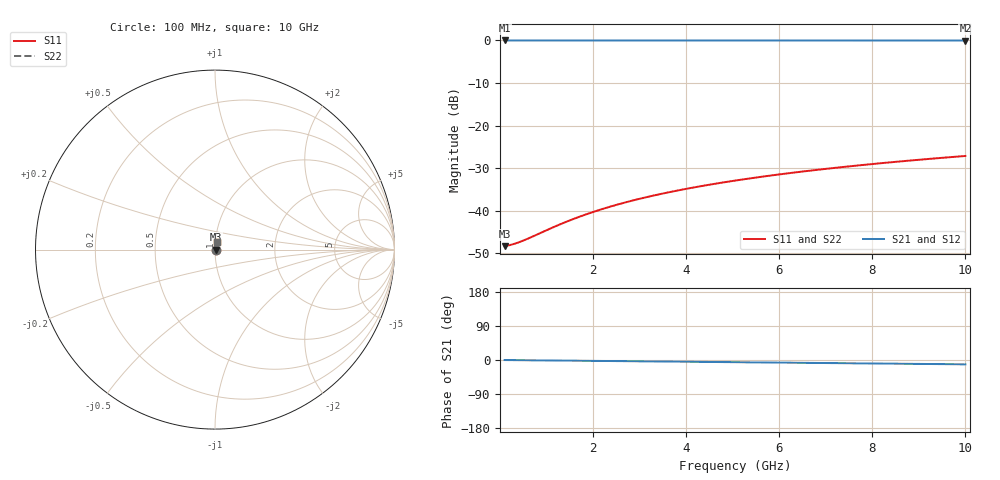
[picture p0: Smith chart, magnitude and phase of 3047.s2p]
# Hz S RI R 50.00
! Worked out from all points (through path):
!   100 points, 100 MHz to 10 GHz, reference 50 ohm
!   highest |S21| = -0.03 dB at 100 MHz (marker M1); lowest = 0.0 dB at 10 GHz (marker M2)
!   group delay of S21, straight-line fit = 3.18 ps
!   lowest |S11| = -48.3 dB at 100 MHz (marker M3), VSWR 1.01, Z = 50.4 + j0.0437 ohm
!   |S11| at or under -10 dB: start of sweep to end of sweep
!   |S22| runs from -48.3 to -27.1 dB; largest |S21 - S12| = 0
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1e8  0.00383 0.000434  0.9962 -0.00199  0.9962 -0.00199  0.00383 0.000434
2e8  0.00385 0.000868  0.9961 -0.00398  0.9961 -0.00398  0.00385 0.000868
3e8  0.00388 0.0013  0.9961 -0.00598  0.9961 -0.00598  0.00388 0.0013
4e8  0.0039 0.00173  0.9961 -0.00797  0.9961 -0.00797  0.0039 0.00173
5e8  0.00392 0.00217  0.996 -0.00996  0.996 -0.00996  0.00392 0.00217
1.3e9  0.00411 0.00563  0.9957 -0.0259  0.9957 -0.0259  0.00411 0.00563
1.5e9  0.00417 0.0065  0.9955 -0.0299  0.9955 -0.0299  0.00417 0.0065
1.8e9  0.00427 0.0078  0.9953 -0.0358  0.9953 -0.0358  0.00427 0.0078
2.1e9  0.00439 0.00909  0.995 -0.0418  0.995 -0.0418  0.00439 0.00909
2.5e9  0.00456 0.0108  0.9946 -0.0498  0.9946 -0.0498  0.00456 0.0108
2.9e9  0.00477 0.0125  0.9942 -0.0577  0.9942 -0.0577  0.00477 0.0125
3.4e9  0.00506 0.0147  0.9935 -0.0676  0.9935 -0.0676  0.00506 0.0147
3.8e9  0.00532 0.0164  0.9929 -0.0756  0.9929 -0.0756  0.00532 0.0164
4.2e9  0.00562 0.0181  0.9922 -0.0835  0.9922 -0.0835  0.00562 0.0181
4.6e9  0.00593 0.0198  0.9914 -0.0915  0.9914 -0.0915  0.00593 0.0198
5.1e9  0.00637 0.0219  0.9904 -0.1014  0.9904 -0.1014  0.00637 0.0219
5.9e9  0.00715 0.0253  0.9885 -0.1172  0.9885 -0.1172  0.00715 0.0253
6.7e9  0.00805 0.0287  0.9864 -0.1329  0.9864 -0.1329  0.00805 0.0287
7.5e9  0.00904 0.032  0.984 -0.1487  0.984 -0.1487  0.00904 0.032
8.4e9  0.0103 0.0357  0.981 -0.1663  0.981 -0.1663  0.0103 0.0357
9.2e9  0.0115 0.0389  0.978 -0.182  0.978 -0.182  0.0115 0.0389
1e10  0.0128 0.0421  0.9748 -0.1975  0.9748 -0.1975  0.0128 0.0421
